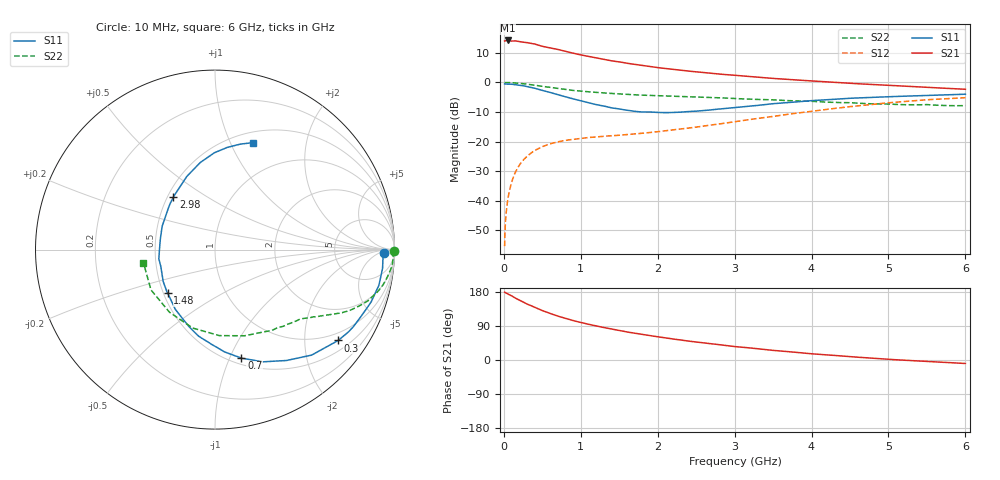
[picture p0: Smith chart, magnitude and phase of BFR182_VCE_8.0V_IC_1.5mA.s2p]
! Infineon Technologies  Discrete & RF Semiconductors
! BFR182
! VCE =  8.0 V,  IC =  1.5 mA
! Common Emitter S-Parameters:  Nov 2015
# GHz  S  MA  R  50
!  f  S11  S21  S12  S22
! GHz  MAG  ANG  MAG  ANG  MAG  ANG  MAG  ANG
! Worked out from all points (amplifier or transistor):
!   210 points, 10 MHz to 6 GHz, reference 50 ohm
!   highest |S21| = 14.2 dB at 50 MHz (marker M1)
!   |S21| within 3 dB of that: start of sweep to 696 MHz
!   unconditionally stable (mu >= 1): 1.638 GHz to 3.238 GHz
!   at 185 MHz: K = 0.15, MSG = 21.3 dB, |S12| = -28.7 dB
!   at 1.52 GHz: K = 0.95, MSG = 12.3 dB, |S12| = -17.8 dB
!   at 6 GHz: K = 0.90, MSG = 1.4 dB, |S12| = -5.2 dB
!   S11 on the Smith chart (normalised r, x): 10 MHz: 30, -10; 300 MHz: 0.77, -2.86; 700 MHz: 0.56, -1.11; 1.48 GHz: 0.53, -0.29; 2.98 GHz: 0.54, +0.37; 6 GHz: 0.61, +1.22
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0.01  0.9417 -1.2  5.022 179.0  0.0017 93.5  0.997 -0.6
0.02  0.9372 -2.3  5.07 177.6  0.0042 87.3  0.9913 -1.1
0.03  0.9374 -3.7  5.087 176.6  0.0062 87.7  0.9921 -1.6
0.05  0.9394 -6.4  5.126 174.6  0.0101 88.0  0.9938 -2.6
0.09  0.9348 -11.1  5.03 170.5  0.0182 83.1  0.9912 -4.8
0.145  0.9182 -18.0  5.034 163.8  0.0293 78.7  0.9792 -7.6
0.3  0.8529 -36.4  4.717 147.8  0.0561 68.8  0.935 -14.6
0.4  0.7972 -47.5  4.468 139.2  0.0705 63.5  0.8978 -18.6
0.5  0.7351 -57.2  4.082 130.4  0.0819 58.6  0.8594 -21.6
0.7  0.6223 -76.3  3.621 115.9  0.0987 51.6  0.7906 -26.4
0.9  0.5278 -92.1  3.124 103.9  0.109 47.5  0.7321 -29.7
1.02  0.4826 -102.2  2.886 98.0  0.1139 46.2  0.7082 -31.2
1.2  0.4215 -116.1  2.588 89.6  0.1198 44.8  0.678 -33.5
1.48  0.359 -137.2  2.246 78.7  0.1273 45.3  0.6409 -36.4
1.7  0.3248 -155.6  2.021 70.7  0.1343 47.3  0.6153 -38.7
2.02  0.3099 -178.9  1.767 60.7  0.1476 49.7  0.5964 -42.6
2.42  0.3227 154.8  1.546 49.4  0.1697 53.3  0.5711 -48.5
2.98  0.374 128.2  1.327 36.0  0.2142 55.8  0.5359 -58.5
3.1  0.3857 123.8  1.288 33.7  0.226 55.6  0.5272 -61.2
4.1  0.5005 97.6  1.04 15.0  0.3377 50.5  0.4708 -90.7
5.1  0.5789 81.8  0.882 0.6  0.463 37.9  0.4245 -130.2
6  0.6318 70.5  0.766 -9.2  0.5517 23.1  0.4053 -169.4
